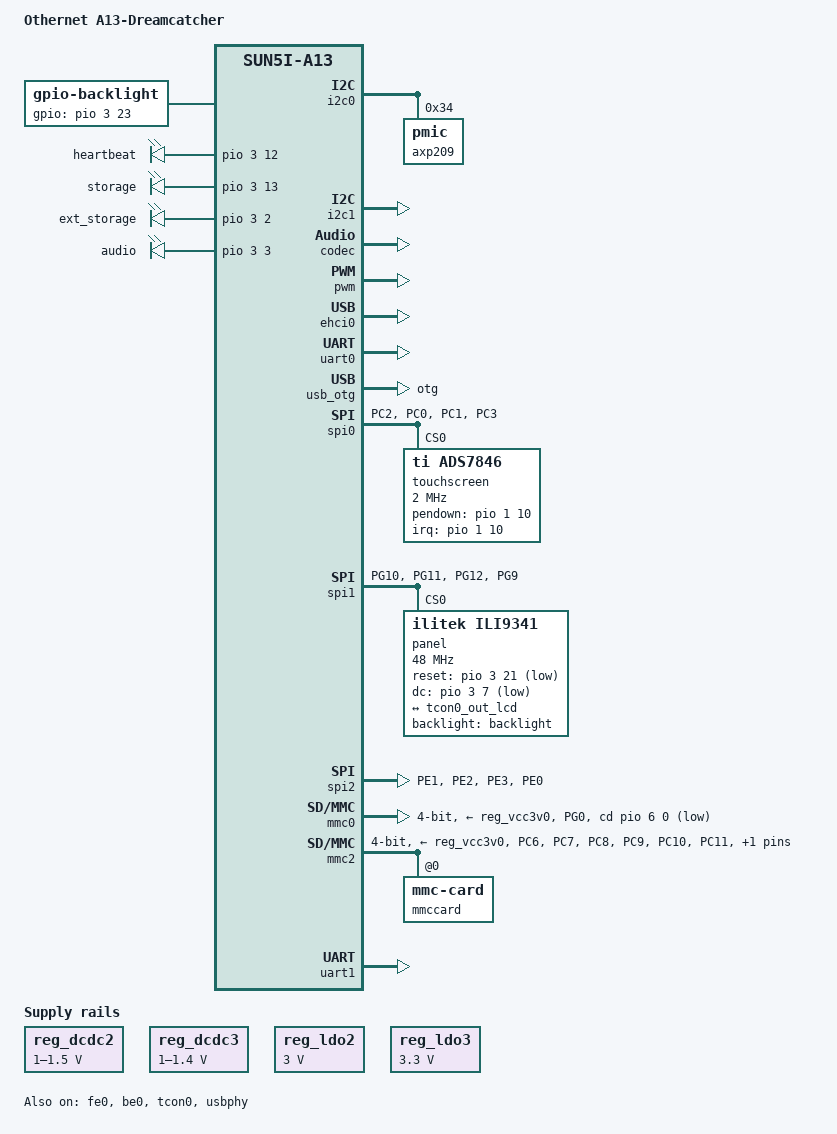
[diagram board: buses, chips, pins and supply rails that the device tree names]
/* created by zefie <zefie@zefie.com> */

/dts-v1/;

#include <dt-bindings/gpio/gpio.h>
#include <dt-bindings/input/input.h>
#include <dt-bindings/interrupt-controller/irq.h>
#include "sun5i-a13.dtsi"
#include "sunxi-common-regulators.dtsi"

/* #include "sun5i-reference-design-tablet.dtsi" */

/ {

	model = "Othernet A13-Dreamcatcher";
	compatible = "othernet,a13-dreamcatcher", "allwinner,sun5i-a13";

        aliases {
                serial0 = &uart0;
        };

	backlight: backlight {
		compatible = "gpio-backlight";
		gpios = <&pio 3 23 GPIO_ACTIVE_HIGH>;
	};

	leds {
		compatible = "gpio-leds";

		heartbeat {
			gpios = <&pio 3 12 GPIO_ACTIVE_HIGH>;
			linux,default-trigger = "heartbeat";
		};

		storage {
			gpios = <&pio 3 13 GPIO_ACTIVE_HIGH>;
			linux,default-trigger = "mmc0";
		};

                ext_storage {
                        gpios = <&pio 3 2 GPIO_ACTIVE_HIGH>;
                        linux,default-trigger = "mmc1";
                };

                audio {
                        gpios = <&pio 3 3 GPIO_ACTIVE_HIGH>;
                        linux,default-trigger = "transient";
                };
	};

	chosen {
		stdout-path = "serial0:115200n8";
		framebuffer@0 {
			status = "okay";
		};

                mali: gpu@1c40000 {
                        compatible = "allwinner,sun4i-a10-mali", "arm,mali-400";
                        reg = <0x01c40000 0x10000>;
                        interrupts = <69>,
                                     <70>,
                                     <71>,
                                     <72>,
                                     <73>;
                        interrupt-names = "gp",
                                          "gpmmu",
                                          "pp0",
                                          "ppmmu0",
                                          "pmu";
                        clocks = <&ccu CLK_AHB_GPU>, <&ccu CLK_GPU>;
                        clock-names = "bus", "core";
                        resets = <&ccu RST_GPU>;

                        assigned-clocks = <&ccu CLK_GPU>;
                        assigned-clock-rates = <384000000>;
                };
	};
};

&i2c0 {
        pinctrl-names = "default";
        pinctrl-0 = <&i2c0_pins_a>;
        status = "okay";
        axp209: pmic@34 {
                reg = <0x34>;
                interrupts = <0>;
        };
};

&i2c1 {
        pinctrl-names = "default";
        pinctrl-0 = <&i2c1_pins_a>;
        status = "okay";
};

#include "axp209.dtsi"

&ac_power_supply {
        status = "okay";
};

&battery_power_supply {
        status = "okay";
};

&reg_dcdc2 {
        regulator-always-on;
        regulator-min-microvolt = <1000000>;
        regulator-max-microvolt = <1500000>;
        regulator-name = "vdd-cpu";
};

&reg_dcdc3 {
        regulator-always-on;
        regulator-min-microvolt = <1000000>;
        regulator-max-microvolt = <1400000>;
        regulator-name = "vdd-int-pll";
};

&reg_ldo1 {
        regulator-name = "vdd-rtc";
};

&reg_ldo2 {
        regulator-always-on;
        regulator-min-microvolt = <3000000>;
        regulator-max-microvolt = <3000000>;
        regulator-name = "avcc";
};

&reg_ldo3 {
        regulator-min-microvolt = <3300000>;
        regulator-max-microvolt = <3300000>;
        regulator-name = "vcc-wifi";
};

&reg_usb0_vbus {
        gpio = <&pio 6 12 GPIO_ACTIVE_HIGH>; /* PG12 */
        status = "okay";
};


&codec {
	status = "okay";
};

&fe0 {
        status = "okay";
};

&be0 {
        status = "okay";
};

&tcon0 {
	status = "okay";
};

&lradc {
	status = "disabled";
};

&pwm {
        pinctrl-names = "default";
        pinctrl-0 = <&pwm0_pins>;
        status = "okay";
};

&cpu0 {
	cpu-supply = <&reg_dcdc2>;
	// remove first row of numbers to disable overclock
	operating-points = <	
		/* kHz    uV */
		1104000 1400000
		1008000 1400000
		9120000 1350000
		 864000 1300000
		 624000 1200000
		 576000 1200000
		 432000 1200000
	>;
};

&ehci0 {
        status = "okay";
};

&uart0 {
        status = "okay";
};

&usb_otg {
        dr_mode = "otg";
        status = "okay";
};

&spi0 {
        pinctrl-names = "default";
	pinctrl-0 = <&spi0_pins_a>,
		    <&spi0_cs0_pin_a>;
        status = "okay";

	touchscreen@0 {
		compatible = "ti,ads7846";
		reg = <0>;
		spi-max-frequency = <2000000>;
		interrupt-parent = <&pio>;
		interrupts = <1 10 2>; /* IRQ_TYPE_EDGE_FALLING */
		pendown-gpio = <&pio 1 10 GPIO_ACTIVE_HIGH>;
		ti,x-plate-ohms = /bits/ 16 <100>;
		ti,pressure-max = /bits/ 16 <255>;
	};
};

&spi1 {
        pinctrl-names = "default";
	pinctrl-0 = <&spi1_pins_a>,
		    <&spi1_cs0_pin_a>;
	status = "okay";
	panel: display@0{
	/*
		// tinydrm mode
		compatible = "mi,mi0283qt";
		rotation = <180>;
		reset-gpios = <&pio 3 21 GPIO_ACTIVE_HIGH>;
		dc-gpios = <&pio 3 7 GPIO_ACTIVE_HIGH>;
	*/

		// fbtft mode
		compatible = "ilitek,ili9341";
		rotate = <270>;
		reset-gpios = <&pio 3 21 GPIO_ACTIVE_LOW>;
		dc-gpios = <&pio 3 7 GPIO_ACTIVE_LOW>;

		// common
		reg = <0>;
		spi-max-frequency = <48000000>;
		bgr;
		buswidth = <8>;
		backlight = <&backlight>;
		debug = <3>;
		width-mm = <49>;
                height-mm = <38>;
	
		port {
			panel_input: endpoint {
				remote-endpoint = <&tcon0_out_lcd>;
			};
		};

	};
};

&spi2 {
        pinctrl-names = "default";
	pinctrl-0 = <&spi2_pins_a>,
		    <&spi2_cs0_pin_a>;
	status = "okay";
};

&tcon0_out {
        tcon0_out_lcd: endpoint@0 {
                reg = <0>;
                remote-endpoint = <&panel_input>;
        };
};

&mmc0 {
	pinctrl-names = "default";
	pinctrl-0 = <&mmc0_pins_a>, <&mmc0_cd_pin>;
	vmmc-supply = <&reg_vcc3v0>;
	bus-width = <4>;
	cd-gpios = <&pio 6 0 GPIO_ACTIVE_LOW>; /* PG0 */
        status = "okay";
};

&mmc1 {
	status = "disabled";
};

&mmc2 {
        pinctrl-names = "default";
	pinctrl-0 = <&mmc2_pins>;
	vmmc-supply = <&reg_vcc3v0>;
	bus-width = <4>;
	cd-gpios = <&pio 2 12 GPIO_ACTIVE_LOW>;
        status = "okay";
	mmccard@0 {
		broken-hpi;
		compatible = "mmc-card";
		reg = <0>;
	};

};

&otg_sram {
        status = "okay";
};

&pio {
	led_pins_dreamcatcher: led_pins@0 {
		allwinner,drive = <1>;
		allwinner,function = "gpio_out";
		allwinner,pins = "PD4", "PD5", "PD6", "PD7", "PD10", "PD11", "PD12", "PD13", "PD14", "PD21", "PD22";
		allwinner,pull = <0>;
	};


        mmc0_cd_pin: mmc0_cd_pin@0 {
                pins = "PG0";
                function = "gpio_in";
                bias-pull-up;
        };

	spi0_cs0_pin_a: spi0-cs0@0 {
		allwinner,drive = <0>;
		allwinner,function = "spi0";
		allwinner,pins = "PC3";
		allwinner,pull = <0>;
	};

	spi0_pins_a: spi0@0 {
		allwinner,drive = <0>;
		allwinner,function = "spi0";
		allwinner,pins = "PC2", "PC0", "PC1";
		allwinner,pull = <0>;
	};


	spi1_cs0_pin_a: spi1-cs0@0 {
		allwinner,drive = <0>;
		allwinner,function = "spi1";
		allwinner,pins = "PG9";
		allwinner,pull = <0>;
	};

	spi1_pins_a: spi1@0 {
		allwinner,drive = <0>;
		allwinner,function = "spi1";
		allwinner,pins = "PG10", "PG11", "PG12";
		allwinner,pull = <0>;
	};

	spi2_cs0_pin_a: spi2-cs0@0 {
		allwinner,drive = <00>;
		allwinner,function = "spi2";
		allwinner,pins = "PE0";
		allwinner,pull = <0>;
	};

	spi2_pins_a: spi2@0 {
		allwinner,drive = <0>;
		allwinner,function = "spi2";
		allwinner,pins = "PE1", "PE2", "PE3";
		allwinner,pull = <0>;
	};

	mmc2_pins: mmc2@0 {
		allwinner,drive = <2>;
		allwinner,function = "mmc2";
		allwinner,pins = "PC6", "PC7", "PC8", "PC9", "PC10", "PC11";
		allwinner,pull = <0>;
	};

	mmc2_cd_pin_a: mmc2_cd_pin@0 {
		allwinner,drive = <0>;
		allwinner,function = "gpio_in";
		allwinner,pins = "PC12";
		allwinner,pull = <1>;
	};

        usb0_vbus_detect_pin: usb0_vbus_detect_pin@0 {
                pins = "PG1";
                function = "gpio_in";
                bias-pull-down;
        };

        usb0_id_detect_pin: usb0_id_detect_pin@0 {
                pins = "PG2";
                function = "gpio_in";
                bias-pull-up;
        };

        usb0_vbus_pin_a: usb0_vbus_pin@0 {
                pins = "PG12";
                function = "gpio_out";
        };
};

&uart1 {
        pinctrl-names = "default";
        pinctrl-0 = <&uart1_pins_b>;
        status = "okay";
};

&usb_otg {
        dr_mode = "otg";
        status = "okay";
};

&usb_power_supply {
        status = "okay";
};

&usbphy {
        pinctrl-names = "default";
        pinctrl-0 = <&usb0_id_detect_pin>, <&usb0_vbus_detect_pin>;
        usb0_id_det-gpio = <&pio 6 2 GPIO_ACTIVE_HIGH>; /* PG2 */
        usb0_vbus_det-gpio = <&pio 6 1 GPIO_ACTIVE_HIGH>; /* PG1 */
        usb0_vbus_power-supply = <&usb_power_supply>;
        usb0_vbus-supply = <&reg_usb0_vbus>;
        usb1_vbus-supply = <&reg_ldo3>;
        status = "okay";
};

